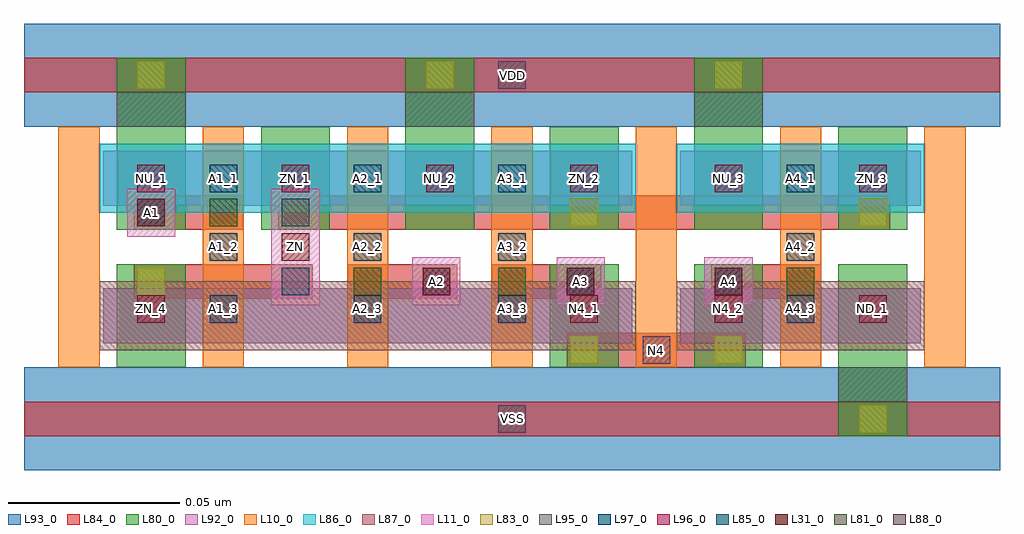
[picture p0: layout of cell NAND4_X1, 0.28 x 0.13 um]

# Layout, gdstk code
import gdstk
lib = gdstk.Library(unit=1e-6, precision=1e-09)
def R(c, l, rs):  # rectangles x0, y0, x1, y1
    for r in rs: c.add(gdstk.rectangle(r[:2], r[2:], *l))
def A(c, l, x, y, w, h, nx, ny, dx, dy):  # array of equal rectangles
    R(c, l, [(x+i*dx, y+j*dy, x+i*dx+w, y+j*dy+h) for i in range(nx) for j in range(ny)])
L10_0 = (10, 0)
L11_0 = (11, 0)
L31_0 = (31, 0)
L80_0 = (80, 0)
L81_0 = (81, 0)
L83_0 = (83, 0)
L84_0 = (84, 0)
L85_0 = (85, 0)
L86_0 = (86, 0)
L87_0 = (87, 0)
L88_0 = (88, 0)
L92_0 = (92, 0)
L93_0 = (93, 0)
L95_0 = (95, 0)
L96_0 = (96, 0)
L97_0 = (97, 0)

nand4_x1 = lib.new_cell('NAND4_X1')
A(nand4_x1, L10_0, -0.027, 0.015, 0.012, 0.07, 7, 1, 0.042, 0)
R(nand4_x1, L11_0, [(0.035,0.033,0.049,0.067), (0.035,0.033,0.049,0.067), (0.076,0.033,0.09,0.047), (0.118,0.033,0.132,0.047), (0.161,0.033,0.175,0.047), (-0.007,0.053,0.007,0.067)])
R(nand4_x1, L31_0, [(0.079,0.036,0.087,0.044), (0.121,0.036,0.129,0.044), (0.164,0.036,0.172,0.044), (0.038,0.046,0.046,0.054), (-0.004,0.056,0.004,0.064)])
A(nand4_x1, L80_0, 0.116, 0.015, 0.02, 0.03, 3, 1, 0.042, 0)
A(nand4_x1, L80_0, -0.01, 0.055, 0.02, 0.03, 6, 1, 0.042, 0)
A(nand4_x1, L80_0, -0.01, 0.075, 0.02, 0.03, 3, 1, 0.084, 0)
R(nand4_x1, L80_0, [(0.2,-0.005,0.22,0.025), (-0.01,0.015,0.01,0.045)])
R(nand4_x1, L81_0, [(0.059,0.036,0.067,0.044), (0.101,0.036,0.109,0.044), (0.185,0.036,0.193,0.044), (0.017,0.056,0.025,0.064)])
A(nand4_x1, L83_0, -0.004, 0.096, 0.008, 0.008, 3, 1, 0.084, 0)
R(nand4_x1, L83_0, [(0.206,-0.004,0.214,0.004), (0.122,0.016,0.13,0.024), (0.122,0.016,0.13,0.024), (0.164,0.016,0.172,0.024), (0.164,0.016,0.172,0.024), (-0.004,0.036,0.004,0.044), (-0.004,0.036,0.004,0.044), (0.038,0.056,0.046,0.064), (0.038,0.056,0.046,0.064), (0.122,0.056,0.13,0.064), (0.122,0.056,0.13,0.064), (0.206,0.056,0.214,0.064), (0.206,0.056,0.214,0.064)])
A(nand4_x1, L84_0, -0.005, 0.055, 0.032, 0.01, 3, 1, 0.084, 0)
R(nand4_x1, L84_0, [(-0.037,-0.005,0.247,0.005), (0.121,0.015,0.152,0.025), (0.121,0.015,0.152,0.025), (0.142,0.015,0.173,0.025), (0.142,0.015,0.173,0.025), (-0.005,0.035,0.026,0.045), (-0.005,0.035,0.026,0.045), (0.016,0.035,0.047,0.045), (0.016,0.035,0.047,0.045), (0.057,0.035,0.089,0.045), (0.099,0.035,0.131,0.045), (0.163,0.035,0.195,0.045), (0.037,0.055,0.068,0.065), (0.037,0.055,0.068,0.065), (0.058,0.055,0.089,0.065), (0.058,0.055,0.089,0.065), (0.079,0.055,0.11,0.065), (0.079,0.055,0.11,0.065), (0.1,0.055,0.131,0.065), (0.1,0.055,0.131,0.065), (0.121,0.055,0.152,0.065), (0.121,0.055,0.152,0.065), (0.142,0.055,0.173,0.065), (0.142,0.055,0.173,0.065), (0.163,0.055,0.194,0.065), (0.163,0.055,0.194,0.065), (0.184,0.055,0.215,0.065), (0.184,0.055,0.215,0.065), (-0.037,0.095,0.247,0.105)])
R(nand4_x1, L85_0, [(0.038,0.036,0.046,0.044), (0.038,0.036,0.046,0.044), (0.079,0.036,0.087,0.044), (0.121,0.036,0.129,0.044), (0.164,0.036,0.172,0.044), (-0.004,0.056,0.004,0.064), (0.038,0.056,0.046,0.064), (0.038,0.056,0.046,0.064)])
R(nand4_x1, L86_0, [(-0.015,0.06,0.141,0.08), (0.153,0.06,0.225,0.08)])
R(nand4_x1, L87_0, [(-0.015,0.02,0.141,0.04), (0.153,0.02,0.225,0.04)])
R(nand4_x1, L88_0, [(0.101,-0.004,0.109,0.004), (0.143,0.016,0.151,0.024), (0.101,0.096,0.109,0.104)])
R(nand4_x1, L92_0, [(-0.014,0.022,0.14,0.038), (0.154,0.022,0.224,0.038), (-0.014,0.062,0.14,0.078), (0.154,0.062,0.224,0.078)])
R(nand4_x1, L93_0, [(-0.037,-0.015,0.247,0.015), (-0.037,0.085,0.247,0.115)])
A(nand4_x1, L95_0, -0.01, 0.085, 0.02, 0.01, 3, 1, 0.084, 0)
R(nand4_x1, L95_0, [(0.2,0.005,0.22,0.015)])
A(nand4_x1, L96_0, 0.122, 0.028, 0.008, 0.008, 3, 1, 0.042, 0)
A(nand4_x1, L96_0, -0.004, 0.066, 0.008, 0.008, 6, 1, 0.042, 0)
R(nand4_x1, L96_0, [(-0.004,0.028,0.004,0.036)])
A(nand4_x1, L97_0, 0.017, 0.028, 0.008, 0.008, 3, 2, 0.042, 0.018)
A(nand4_x1, L97_0, 0.017, 0.066, 0.008, 0.008, 3, 1, 0.042, 0)
R(nand4_x1, L97_0, [(0.185,0.028,0.193,0.036), (0.185,0.046,0.193,0.054), (0.185,0.066,0.193,0.074)])
nand4_x1.add(gdstk.Label('A3_1', (0.105,0.07), layer=97, texttype=0))
nand4_x1.add(gdstk.Label('A3_3', (0.105,0.032), layer=97, texttype=0))
nand4_x1.add(gdstk.Label('A3_2', (0.105,0.05), layer=97, texttype=0))
nand4_x1.add(gdstk.Label('A2_3', (0.063,0.032), layer=97, texttype=0))
nand4_x1.add(gdstk.Label('A2_2', (0.063,0.05), layer=97, texttype=0))
nand4_x1.add(gdstk.Label('A2_1', (0.063,0.07), layer=97, texttype=0))
nand4_x1.add(gdstk.Label('A1_3', (0.021,0.032), layer=97, texttype=0))
nand4_x1.add(gdstk.Label('A1_2', (0.021,0.05), layer=97, texttype=0))
nand4_x1.add(gdstk.Label('A1_1', (0.021,0.07), layer=97, texttype=0))
nand4_x1.add(gdstk.Label('A4_3', (0.189,0.032), layer=97, texttype=0))
nand4_x1.add(gdstk.Label('A4_2', (0.189,0.05), layer=97, texttype=0))
nand4_x1.add(gdstk.Label('A4_1', (0.189,0.07), layer=97, texttype=0))
nand4_x1.add(gdstk.Label('NU_1', (0,0.07), layer=96, texttype=0))
nand4_x1.add(gdstk.Label('ZN_4', (0,0.032), layer=96, texttype=0))
nand4_x1.add(gdstk.Label('ZN_1', (0.042,0.07), layer=96, texttype=0))
nand4_x1.add(gdstk.Label('NU_2', (0.084,0.07), layer=96, texttype=0))
nand4_x1.add(gdstk.Label('N4_1', (0.126,0.032), layer=96, texttype=0))
nand4_x1.add(gdstk.Label('ZN_2', (0.126,0.07), layer=96, texttype=0))
nand4_x1.add(gdstk.Label('NU_3', (0.168,0.07), layer=96, texttype=0))
nand4_x1.add(gdstk.Label('N4_2', (0.168,0.032), layer=96, texttype=0))
nand4_x1.add(gdstk.Label('ZN_3', (0.21,0.07), layer=96, texttype=0))
nand4_x1.add(gdstk.Label('ND_1', (0.21,0.032), layer=96, texttype=0))
nand4_x1.add(gdstk.Label('VSS', (0.105,0), layer=88, texttype=0))
nand4_x1.add(gdstk.Label('VDD', (0.105,0.1), layer=88, texttype=0))
nand4_x1.add(gdstk.Label('N4', (0.147,0.02), layer=88, texttype=0))
nand4_x1.add(gdstk.Label('ZN', (0.042,0.05), layer=31, texttype=0))
nand4_x1.add(gdstk.Label('A1', (0,0.06), layer=31, texttype=0))
nand4_x1.add(gdstk.Label('A4', (0.168,0.04), layer=31, texttype=0))
nand4_x1.add(gdstk.Label('A2', (0.083,0.04), layer=31, texttype=0))
nand4_x1.add(gdstk.Label('A3', (0.125,0.04), layer=31, texttype=0))

lib.write_gds('NAND4_X1.gds')
